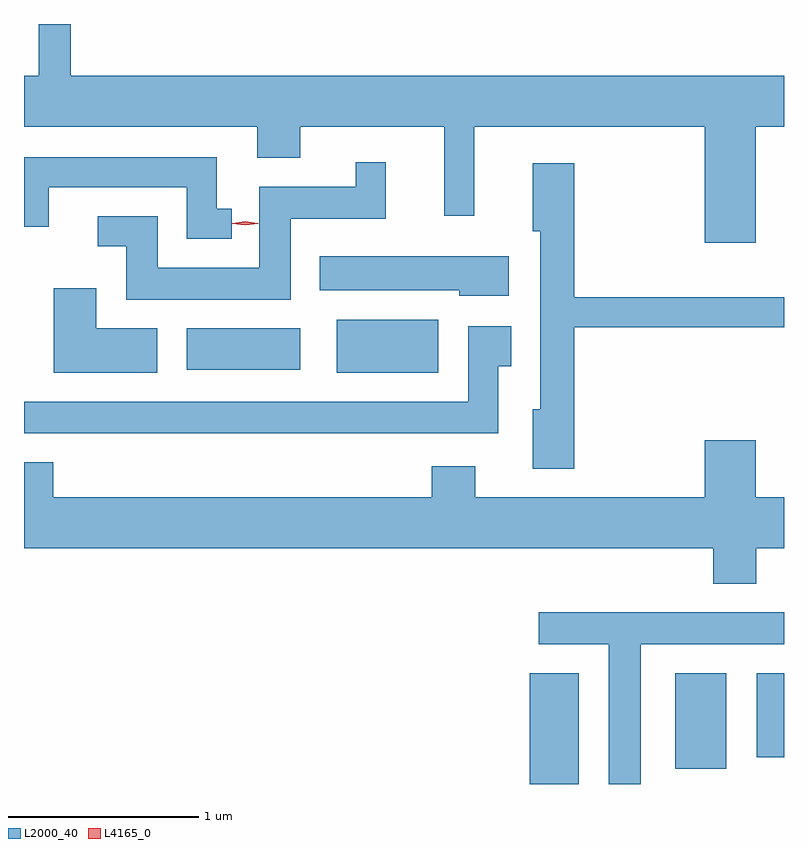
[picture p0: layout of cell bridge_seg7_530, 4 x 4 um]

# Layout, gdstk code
import gdstk
lib = gdstk.Library(unit=1e-6, precision=1e-09)
def R(c, l, rs):  # rectangles x0, y0, x1, y1
    for r in rs: c.add(gdstk.rectangle(r[:2], r[2:], *l))
def P(c, l, *ps):  # polygons
    for p in ps: c.add(gdstk.Polygon(p, *l))
L2000_40 = (2000, 40)
L4165_0 = (4165, 0)

bridge_seg7_530 = lib.new_cell('bridge_seg7_530')
R(bridge_seg7_530, L2000_40, [(853.516,1741.936,853.774,1742.519), (854.281,1742.016,854.549,1742.519), (854.711,1742.076,854.854,1742.519), (852.501,1744.101,853.034,1744.379), (851.711,1744.116,852.309,1744.334)])
P(bridge_seg7_530, L2000_40, [(854.704,1745.396),(854.854,1745.396),(854.854,1745.664),(851.099,1745.664),(851.099,1745.936),(850.931,1745.936),(850.931,1745.664),(850.854,1745.664),(850.854,1745.396),(852.081,1745.396),(852.081,1745.231),(852.309,1745.231),(852.309,1745.396),(853.066,1745.396),(853.066,1744.928),(853.224,1744.928),(853.224,1745.396),(854.436,1745.396),(854.436,1744.786),(854.704,1744.786)],
  [(851.948,1744.964),(851.869,1744.964),(851.869,1745.234),(850.854,1745.234),(850.854,1744.868),(850.984,1744.868),(850.984,1745.076),(851.711,1745.076),(851.711,1744.806),(851.948,1744.806)],
  [(852.259,1744.911),(852.759,1744.911),(852.759,1745.208),(852.601,1745.208),(852.601,1745.079),(852.091,1745.079),(852.091,1744.654),(851.559,1744.654),(851.559,1744.924),(851.243,1744.924),(851.243,1744.766),(851.391,1744.766),(851.391,1744.486),(852.259,1744.486)],
  [(853.749,1744.341),(854.854,1744.341),(854.854,1744.499),(853.749,1744.499),(853.749,1745.204),(853.531,1745.204),(853.531,1744.846),(853.571,1744.846),(853.571,1743.909),(853.531,1743.909),(853.531,1743.596),(853.749,1743.596)],
  [(853.404,1744.714),(852.411,1744.714),(852.411,1744.536),(853.146,1744.536),(853.146,1744.506),(853.404,1744.506)],
  [(851.554,1744.334),(851.234,1744.334),(851.234,1744.544),(851.011,1744.544),(851.011,1744.101),(851.554,1744.101)],
  [(853.349,1744.136),(853.419,1744.136),(853.419,1744.344),(853.191,1744.344),(853.191,1743.949),(850.854,1743.949),(850.854,1743.781),(853.349,1743.781)],
  [(854.709,1743.176),(854.854,1743.176),(854.854,1743.444),(854.704,1743.444),(854.704,1743.744),(854.436,1743.744),(854.436,1743.444),(853.229,1743.444),(853.229,1743.609),(853.001,1743.609),(853.001,1743.444),(851.009,1743.444),(851.009,1743.629),(850.854,1743.629),(850.854,1743.176),(854.481,1743.176),(854.481,1742.991),(854.709,1742.991)],
  [(854.099,1742.671),(854.854,1742.671),(854.854,1742.839),(853.563,1742.839),(853.563,1742.671),(853.931,1742.671),(853.931,1741.936),(854.099,1741.936)])
P(bridge_seg7_530, L4165_0, [(852.018,1744.877),(851.949,1744.886),(851.949,1744.887),(851.949,1744.887),(852.018,1744.897),(852.088,1744.887),(852.088,1744.887),(852.088,1744.886)])

lib.write_gds('bridge_seg7_530.gds')
